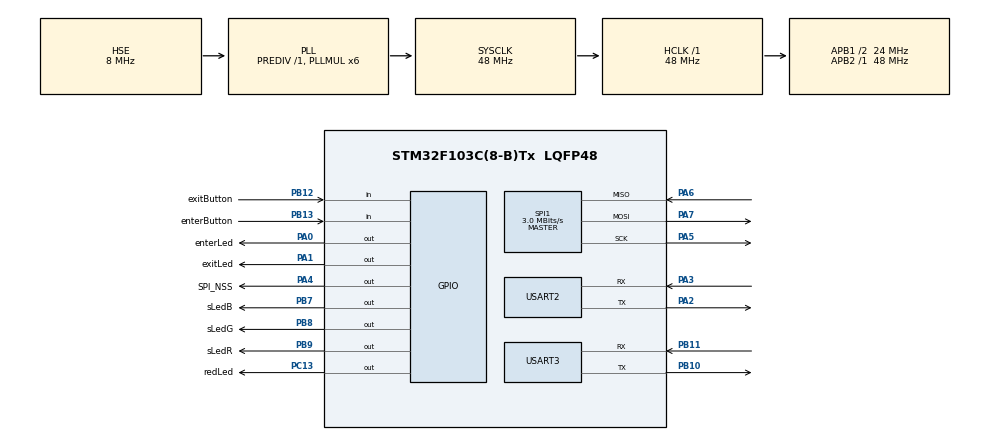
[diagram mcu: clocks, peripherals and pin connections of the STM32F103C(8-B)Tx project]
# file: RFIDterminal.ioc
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Mcu.Family=STM32F1
Mcu.Name=STM32F103C(8-B)Tx
Mcu.Package=LQFP48
NVIC.PriorityGroup=NVIC_PRIORITYGROUP_4
PA0-WKUP.GPIO_Label=enterLed
PA0-WKUP.Signal=GPIO_Output
PA1.GPIO_Label=exitLed
PA1.PinState=GPIO_PIN_SET
PA1.Signal=GPIO_Output
PA13.Mode=Serial_Wire
PA13.Signal=SYS_JTMS-SWDIO
PA14.Mode=Serial_Wire
PA14.Signal=SYS_JTCK-SWCLK
PA2.Mode=Asynchronous
PA2.Signal=USART2_TX
PA3.Mode=Asynchronous
PA3.Signal=USART2_RX
PA4.GPIO_Label=SPI_NSS
PA4.GPIO_Speed=GPIO_SPEED_FREQ_HIGH
PA4.PinState=GPIO_PIN_SET
PA4.Signal=GPIO_Output
PA5.Mode=Full_Duplex_Master
PA5.Signal=SPI1_SCK
PA6.Mode=Full_Duplex_Master
PA6.Signal=SPI1_MISO
PA7.Mode=Full_Duplex_Master
PA7.Signal=SPI1_MOSI
PB10.Mode=Asynchronous
PB10.Signal=USART3_TX
PB11.Mode=Asynchronous
PB11.Signal=USART3_RX
PB12.GPIO_Label=exitButton
PB12.GPIO_PuPd=GPIO_PULLUP
PB12.Signal=GPIO_Input
PB13.GPIO_Label=enterButton
PB13.GPIO_PuPd=GPIO_PULLUP
PB13.Signal=GPIO_Input
PB7.GPIO_Label=sLedB
PB7.PinState=GPIO_PIN_SET
PB7.Signal=GPIO_Output
PB8.GPIO_Label=sLedG
PB8.PinState=GPIO_PIN_SET
PB8.Signal=GPIO_Output
PB9.GPIO_Label=sLedR
PB9.PinState=GPIO_PIN_SET
PB9.Signal=GPIO_Output
PC13-TAMPER-RTC.GPIO_Label=redLed
PC13-TAMPER-RTC.PinState=GPIO_PIN_SET
PC13-TAMPER-RTC.Signal=GPIO_Output
PD0-OSC_IN.Mode=HSE-External-Oscillator
PD0-OSC_IN.Signal=RCC_OSC_IN
PD1-OSC_OUT.Mode=HSE-External-Oscillator
PD1-OSC_OUT.Signal=RCC_OSC_OUT
ProjectManager.HeapSize=0x200
ProjectManager.StackSize=0x400
ProjectManager.TargetToolchain=SW4STM32
RCC.AHBCLKDivider=RCC_SYSCLK_DIV1
RCC.AHBFreq_Value=48000000
RCC.APB1CLKDivider=RCC_HCLK_DIV2
RCC.APB1Freq_Value=24000000
RCC.APB1TimFreq_Value=48000000
RCC.APB2Freq_Value=48000000
RCC.APB2TimFreq_Value=48000000
RCC.ClockTypeHCLK=RCC_CLOCKTYPE_HCLK
RCC.ClockTypePCLK1=RCC_CLOCKTYPE_PCLK1
RCC.ClockTypePCLK2=RCC_CLOCKTYPE_PCLK2
RCC.EnableHSE=true
RCC.EnableHSERTCDevisor=false
RCC.EnableLSE=false
RCC.EnableLSERTC=false
RCC.EnableMCOMultDivisor=false
RCC.HCLKFreq_Value=48000000
RCC.HSEState=RCC_HSE_ON
RCC.HSIState=RCC_HSI_ON
RCC.IWDGEnable=false
RCC.LSIState=RCC_LSI_OFF
RCC.MCOEnable=false
RCC.OscillatorTypeHSE=RCC_OSCILLATORTYPE_HSE
RCC.PLLMUL=RCC_PLL_MUL6
RCC.PLLSource=RCC_PLLSOURCE_HSE
RCC.PLLSourceVirtual=RCC_PLLSOURCE_HSE
RCC.PLLState=RCC_PLL_ON
RCC.RTCEnable=false
RCC.SYSCLKFreq_VALUE=48000000
RCC.SYSCLKSource=RCC_SYSCLKSOURCE_PLLCLK
RCC.USBFreq_Value=48000000
SPI1.BaudRatePrescaler=SPI_BAUDRATEPRESCALER_16
SPI1.CLKPhase=SPI_PHASE_2EDGE
SPI1.CLKPolarity=SPI_POLARITY_HIGH
SPI1.CRCPolynomial=10
SPI1.CalculateBaudRate=3.0 MBits/s
SPI1.Direction=SPI_DIRECTION_2LINES
SPI1.Mode=SPI_MODE_MASTER
SPI1.VirtualType=VM_MASTER
USART2.HwFlowCtl-Asynchronous=UART_HWCONTROL_NONE
USART2.VirtualMode=VM_ASYNC
USART3.HwFlowCtl-Asynchronous=UART_HWCONTROL_NONE
USART3.VirtualMode=VM_ASYNC
board=RFIDterminal

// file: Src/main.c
/**
 ******************************************************************************
 * File Name          : main.c
 * Description        : Main program body
 ******************************************************************************
 *
 * COPYRIGHT(c) 2017 STMicroelectronics
 *
 * Redistribution and use in source and binary forms, with or without modification,
 * are permitted provided that the following conditions are met:
 *   1. Redistributions of source code must retain the above copyright notice,
 *      this list of conditions and the following disclaimer.
 *   2. Redistributions in binary form must reproduce the above copyright notice,
 *      this list of conditions and the following disclaimer in the documentation
 *      and/or other materials provided with the distribution.
 *   3. Neither the name of STMicroelectronics nor the names of its contributors
 *      may be used to endorse or promote products derived from this software
 *      without specific prior written permission.
 *
 * THIS SOFTWARE IS PROVIDED BY THE COPYRIGHT HOLDERS AND CONTRIBUTORS "AS IS"
 * AND ANY EXPRESS OR IMPLIED WARRANTIES, INCLUDING, BUT NOT LIMITED TO, THE
 * IMPLIED WARRANTIES OF MERCHANTABILITY AND FITNESS FOR A PARTICULAR PURPOSE ARE
 * DISCLAIMED. IN NO EVENT SHALL THE COPYRIGHT HOLDER OR CONTRIBUTORS BE LIABLE
 * FOR ANY DIRECT, INDIRECT, INCIDENTAL, SPECIAL, EXEMPLARY, OR CONSEQUENTIAL
 * DAMAGES (INCLUDING, BUT NOT LIMITED TO, PROCUREMENT OF SUBSTITUTE GOODS OR
 * SERVICES; LOSS OF USE, DATA, OR PROFITS; OR BUSINESS INTERRUPTION) HOWEVER
 * CAUSED AND ON ANY THEORY OF LIABILITY, WHETHER IN CONTRACT, STRICT LIABILITY,
 * OR TORT (INCLUDING NEGLIGENCE OR OTHERWISE) ARISING IN ANY WAY OUT OF THE USE
 * OF THIS SOFTWARE, EVEN IF ADVISED OF THE POSSIBILITY OF SUCH DAMAGE.
 *
 ******************************************************************************
 */
#include "main.h"
#include "stm32f1xx_hal.h"

/* USER CODE BEGIN Includes */
#include "stdbool.h"
#include "mfrc522.h"
#include "mfrc522_SPI.h"
#include "configMode.h"
#include "uart.h"
#include "wifiModule.h"
#include "string.h"
#include "defines.h"
#include "HTTPrequest.h"
/* USER CODE END Includes */

SPI_HandleTypeDef hspi1;

UART_HandleTypeDef huart2;
UART_HandleTypeDef huart3;

/* USER CODE BEGIN PV */
/* Private variables ---------------------------------------------------------*/

#define uartPC huart3
#define uartWiFi huart2

typedef enum {
	LED_BLACK,
	LED_RED,
	LED_GREEN,
	LED_BLUE,
	LED_YELLOW,
	LED_MAGENTA,
	LED_CYAN,
	LED_WHITE
} LedColor;

Terminal_mode terminalMode = enterMode;
uint8_t cardID[5];
uint16_t size = 0;
char uartTextBuff[64];

/* USER CODE END PV */

void SystemClock_Config(void);
void Error_Handler(void);
static void MX_GPIO_Init(void);
static void MX_SPI1_Init(void);
static void MX_USART3_UART_Init(void);
static void MX_USART2_UART_Init(void);

/* USER CODE BEGIN PFP */
/* Private function prototypes -----------------------------------------------*/

void initTerminal(void);
void checkModeChange(void);
bool newCardDetected(uint8_t* id);
void setLedColor(LedColor color);
void blinkWiFiError(void);

/* USER CODE END PFP */

/* USER CODE BEGIN 0 */

void checkModeChange(void){
	if(HAL_GPIO_ReadPin(enterButton_GPIO_Port, enterButton_Pin) == GPIO_PIN_RESET){
		HAL_GPIO_WritePin(enterLed_GPIO_Port, enterLed_Pin, RESET);
		HAL_GPIO_WritePin(exitLed_GPIO_Port, exitLed_Pin, SET);
		terminalMode = enterMode;
	}

	if(HAL_GPIO_ReadPin(exitButton_GPIO_Port, exitButton_Pin) == GPIO_PIN_RESET){
		HAL_GPIO_WritePin(enterLed_GPIO_Port, enterLed_Pin, SET);
		HAL_GPIO_WritePin(exitLed_GPIO_Port, exitLed_Pin, RESET);
		terminalMode = exitMode;
	}
}

void initTerminal(void){

}

bool newCardDetected(uint8_t* id){
	static uint8_t lastCardStatus = 0;
	if(MFRC522_Check(id) == MI_OK){
		if(lastCardStatus != MI_OK){
			lastCardStatus = MI_OK;
			return true;
		}
	}else{
		lastCardStatus = MI_NOTAGERR;
	}
	return false;
}

void setLedColor(LedColor color){
	HAL_GPIO_WritePin(sLedR_GPIO_Port, sLedR_Pin, GPIO_PIN_SET);
	HAL_GPIO_WritePin(sLedG_GPIO_Port, sLedG_Pin, GPIO_PIN_SET);
	HAL_GPIO_WritePin(sLedB_GPIO_Port, sLedB_Pin, GPIO_PIN_SET);

	switch (color) {
	case LED_RED:
		HAL_GPIO_WritePin(sLedR_GPIO_Port, sLedR_Pin, GPIO_PIN_RESET);
		break;
	case LED_GREEN:
		HAL_GPIO_WritePin(sLedG_GPIO_Port, sLedG_Pin, GPIO_PIN_RESET);
		break;
	case LED_BLUE:
		HAL_GPIO_WritePin(sLedB_GPIO_Port, sLedB_Pin, GPIO_PIN_RESET);
		break;
	case LED_YELLOW:
		HAL_GPIO_WritePin(sLedR_GPIO_Port, sLedR_Pin, GPIO_PIN_RESET);
		HAL_GPIO_WritePin(sLedG_GPIO_Port, sLedG_Pin, GPIO_PIN_RESET);
		break;
	case LED_MAGENTA:
		HAL_GPIO_WritePin(sLedR_GPIO_Port, sLedR_Pin, GPIO_PIN_RESET);
		HAL_GPIO_WritePin(sLedB_GPIO_Port, sLedB_Pin, GPIO_PIN_RESET);
		break;
	case LED_CYAN:
		HAL_GPIO_WritePin(sLedB_GPIO_Port, sLedB_Pin, GPIO_PIN_RESET);
		HAL_GPIO_WritePin(sLedG_GPIO_Port, sLedG_Pin, GPIO_PIN_RESET);
		break;
	case LED_WHITE:
		HAL_GPIO_WritePin(sLedR_GPIO_Port, sLedR_Pin, GPIO_PIN_RESET);
		HAL_GPIO_WritePin(sLedG_GPIO_Port, sLedG_Pin, GPIO_PIN_RESET);
		HAL_GPIO_WritePin(sLedB_GPIO_Port, sLedB_Pin, GPIO_PIN_RESET);
		break;
	default:
		break;
	}

}

void blinkWiFiError(void){
	for(uint8_t i = 0; i < 2; i++){
		setLedColor(LED_BLUE);
		HAL_Delay(500);
		setLedColor(LED_RED);
		HAL_Delay(500);
	}
}

/* USER CODE END 0 */

int main(void)
{

	/* MCU Configuration----------------------------------------------------------*/

	/* Reset of all peripherals, Initializes the Flash interface and the Systick. */
	HAL_Init();

	/* Configure the system clock */
	SystemClock_Config();

	/* Initialize all configured peripherals */
	MX_GPIO_Init();
	MX_SPI1_Init();
	MX_USART3_UART_Init();
	MX_USART2_UART_Init();

	/* USER CODE BEGIN 2 */

	//próba wejœcia w tryb konfiguracji
	enterConfigMode(&uartPC, &uartWiFi);

	uartWriteLine(&uartPC, "Starting!");

	mfrc522_SPI_setHandler(&hspi1, SPI_NSS_GPIO_Port, SPI_NSS_Pin);
	MFRC522_Init();

	if(WiFi_restart(&uartWiFi, 10000) != WiFi_OK)
		Error_Handler();
	uartWriteLine(&uartPC, "WiFi OK!");

	/* USER CODE END 2 */

	/* Infinite loop */
	while (1)
	{

		/* USER CODE BEGIN 3 */
		HAL_Delay(250);

		checkModeChange();

		if(newCardDetected(cardID)){
			HAL_GPIO_WritePin(redLed_GPIO_Port, redLed_Pin, RESET);	//Zapalenie czerwonej diody

			//testowe -> otwiera po³¹czenie, ale go nie zamyka
			if(WiFi_checkAPconnection(&uartWiFi) == WiFi_OK){
				sprintf(uartTextBuff, "CardID: %02X%02X%02X%02X%02X %s",
						cardID[0],
						cardID[1],
						cardID[2],
						cardID[3],
						cardID[4],
						terminalMode == enterMode ? "enter" : "exit");
				uartWriteLine(&uartPC, uartTextBuff);
				RequestResult status = cardRequest(&uartWiFi, cardID, terminalMode, HOST_NAME, HOST_PORT);

				//WiFI_Status status = WiFi_openConnection(&uartWiFi, "Karol-Lenovo", "8189");	//Nawi¹zanie ³¹cznoœci z serwerem

				switch (status.wifiStatus) {
				case WiFi_OK:
					uartWriteLine(&uartPC, "WIFI OK");

					if(status.result == ACCESS_GRANTED){
						setLedColor(LED_GREEN);
						uartWriteLine(&uartPC, "ACCESS_GRANTED");
						HAL_Delay(1000);
					}else if(status.result == ACCESS_DENIED){
						setLedColor(LED_RED);
						uartWriteLine(&uartPC, "ACCESS_DENIED");
						HAL_Delay(1000);
					}else{
						sprintf(uartTextBuff, "Server Error: %d", status.HTTP_status);
						uartWriteLine(&uartPC, uartTextBuff);
						for(uint8_t i = 0; i < 2; i++){
							setLedColor(LED_YELLOW);
							HAL_Delay(500);
							setLedColor(LED_BLACK);
							HAL_Delay(500);
						}
					}

					break;
				case WiFi_NO_IP:
					uartWriteLine(&uartPC, "no ip");
					blinkWiFiError();
					break;
				case WiFi_ERROR:
					uartWriteLine(&uartPC, "WIFI ERROR");
					blinkWiFiError();
					break;
				case WiFi_DNS_FAIL:
					uartWriteLine(&uartPC, "DNS Fail");
					blinkWiFiError();
					break;
				case WiFi_ALREADY_CONNECT:
					uartWriteLine(&uartPC, "ALREAY CONNECT");
					blinkWiFiError();
					break;
				default:
					break;
				}
			}else{
				uartWriteLine(&uartPC, "no AP");
				for(uint8_t i = 0; i < 2; i++){
					setLedColor(LED_BLUE);
					HAL_Delay(500);
					setLedColor(LED_BLACK);
					HAL_Delay(500);
				}
			}

			setLedColor(LED_BLACK);
		}else{
			HAL_GPIO_WritePin(redLed_GPIO_Port, redLed_Pin, SET);	//zgaszenie diody
		}

	}
	/* USER CODE END 3 */

}

/** System Clock Configuration
 */
void SystemClock_Config(void)
{

	RCC_OscInitTypeDef RCC_OscInitStruct;
	RCC_ClkInitTypeDef RCC_ClkInitStruct;

	/**Initializes the CPU, AHB and APB busses clocks
	 */
	RCC_OscInitStruct.OscillatorType = RCC_OSCILLATORTYPE_HSE;
	RCC_OscInitStruct.HSEState = RCC_HSE_ON;
	RCC_OscInitStruct.HSEPredivValue = RCC_HSE_PREDIV_DIV1;
	RCC_OscInitStruct.PLL.PLLState = RCC_PLL_ON;
	RCC_OscInitStruct.PLL.PLLSource = RCC_PLLSOURCE_HSE;
	RCC_OscInitStruct.PLL.PLLMUL = RCC_PLL_MUL6;
	if (HAL_RCC_OscConfig(&RCC_OscInitStruct) != HAL_OK)
	{
		Error_Handler();
	}

	/**Initializes the CPU, AHB and APB busses clocks
	 */
	RCC_ClkInitStruct.ClockType = RCC_CLOCKTYPE_HCLK|RCC_CLOCKTYPE_SYSCLK
			|RCC_CLOCKTYPE_PCLK1|RCC_CLOCKTYPE_PCLK2;
	RCC_ClkInitStruct.SYSCLKSource = RCC_SYSCLKSOURCE_PLLCLK;
	RCC_ClkInitStruct.AHBCLKDivider = RCC_SYSCLK_DIV1;
	RCC_ClkInitStruct.APB1CLKDivider = RCC_HCLK_DIV2;
	RCC_ClkInitStruct.APB2CLKDivider = RCC_HCLK_DIV1;

	if (HAL_RCC_ClockConfig(&RCC_ClkInitStruct, FLASH_LATENCY_1) != HAL_OK)
	{
		Error_Handler();
	}

	/**Configure the Systick interrupt time
	 */
	HAL_SYSTICK_Config(HAL_RCC_GetHCLKFreq()/1000);

	/**Configure the Systick
	 */
	HAL_SYSTICK_CLKSourceConfig(SYSTICK_CLKSOURCE_HCLK);

	/* SysTick_IRQn interrupt configuration */
	HAL_NVIC_SetPriority(SysTick_IRQn, 0, 0);
}

/* SPI1 init function */
static void MX_SPI1_Init(void)
{

	hspi1.Instance = SPI1;
	hspi1.Init.Mode = SPI_MODE_MASTER;
	hspi1.Init.Direction = SPI_DIRECTION_2LINES;
	hspi1.Init.DataSize = SPI_DATASIZE_8BIT;
	hspi1.Init.CLKPolarity = SPI_POLARITY_HIGH;
	hspi1.Init.CLKPhase = SPI_PHASE_2EDGE;
	hspi1.Init.NSS = SPI_NSS_SOFT;
	hspi1.Init.BaudRatePrescaler = SPI_BAUDRATEPRESCALER_16;
	hspi1.Init.FirstBit = SPI_FIRSTBIT_MSB;
	hspi1.Init.TIMode = SPI_TIMODE_DISABLE;
	hspi1.Init.CRCCalculation = SPI_CRCCALCULATION_DISABLE;
	hspi1.Init.CRCPolynomial = 10;
	if (HAL_SPI_Init(&hspi1) != HAL_OK)
	{
		Error_Handler();
	}

}

/* USART2 init function */
static void MX_USART2_UART_Init(void)
{

	huart2.Instance = USART2;
	huart2.Init.BaudRate = 115200;
	huart2.Init.WordLength = UART_WORDLENGTH_8B;
	huart2.Init.StopBits = UART_STOPBITS_1;
	huart2.Init.Parity = UART_PARITY_NONE;
	huart2.Init.Mode = UART_MODE_TX_RX;
	huart2.Init.HwFlowCtl = UART_HWCONTROL_NONE;
	huart2.Init.OverSampling = UART_OVERSAMPLING_16;
	if (HAL_UART_Init(&huart2) != HAL_OK)
	{
		Error_Handler();
	}

}

/* USART3 init function */
static void MX_USART3_UART_Init(void)
{

	huart3.Instance = USART3;
	huart3.Init.BaudRate = 115200;
	huart3.Init.WordLength = UART_WORDLENGTH_8B;
	huart3.Init.StopBits = UART_STOPBITS_1;
	huart3.Init.Parity = UART_PARITY_NONE;
	huart3.Init.Mode = UART_MODE_TX_RX;
	huart3.Init.HwFlowCtl = UART_HWCONTROL_NONE;
	huart3.Init.OverSampling = UART_OVERSAMPLING_16;
	if (HAL_UART_Init(&huart3) != HAL_OK)
	{
		Error_Handler();
	}

}

/** Configure pins as
 * Analog
 * Input
 * Output
 * EVENT_OUT
 * EXTI
 */
static void MX_GPIO_Init(void)
{

	GPIO_InitTypeDef GPIO_InitStruct;

	/* GPIO Ports Clock Enable */
	__HAL_RCC_GPIOC_CLK_ENABLE();
	__HAL_RCC_GPIOD_CLK_ENABLE();
	__HAL_RCC_GPIOA_CLK_ENABLE();
	__HAL_RCC_GPIOB_CLK_ENABLE();

	/*Configure GPIO pin Output Level */
	HAL_GPIO_WritePin(redLed_GPIO_Port, redLed_Pin, GPIO_PIN_SET);

	/*Configure GPIO pin Output Level */
	HAL_GPIO_WritePin(enterLed_GPIO_Port, enterLed_Pin, GPIO_PIN_RESET);

	/*Configure GPIO pin Output Level */
	HAL_GPIO_WritePin(GPIOA, exitLed_Pin|SPI_NSS_Pin, GPIO_PIN_SET);

	/*Configure GPIO pin Output Level */
	HAL_GPIO_WritePin(GPIOB, sLedB_Pin|sLedG_Pin|sLedR_Pin, GPIO_PIN_SET);

	/*Configure GPIO pin : redLed_Pin */
	GPIO_InitStruct.Pin = redLed_Pin;
	GPIO_InitStruct.Mode = GPIO_MODE_OUTPUT_PP;
	GPIO_InitStruct.Speed = GPIO_SPEED_FREQ_LOW;
	HAL_GPIO_Init(redLed_GPIO_Port, &GPIO_InitStruct);

	/*Configure GPIO pins : enterLed_Pin exitLed_Pin */
	GPIO_InitStruct.Pin = enterLed_Pin|exitLed_Pin;
	GPIO_InitStruct.Mode = GPIO_MODE_OUTPUT_PP;
	GPIO_InitStruct.Speed = GPIO_SPEED_FREQ_LOW;
	HAL_GPIO_Init(GPIOA, &GPIO_InitStruct);

	/*Configure GPIO pin : SPI_NSS_Pin */
	GPIO_InitStruct.Pin = SPI_NSS_Pin;
	GPIO_InitStruct.Mode = GPIO_MODE_OUTPUT_PP;
	GPIO_InitStruct.Speed = GPIO_SPEED_FREQ_HIGH;
	HAL_GPIO_Init(SPI_NSS_GPIO_Port, &GPIO_InitStruct);

	/*Configure GPIO pins : exitButton_Pin enterButton_Pin */
	GPIO_InitStruct.Pin = exitButton_Pin|enterButton_Pin;
	GPIO_InitStruct.Mode = GPIO_MODE_INPUT;
	GPIO_InitStruct.Pull = GPIO_PULLUP;
	HAL_GPIO_Init(GPIOB, &GPIO_InitStruct);

	/*Configure GPIO pins : sLedB_Pin sLedG_Pin sLedR_Pin */
	GPIO_InitStruct.Pin = sLedB_Pin|sLedG_Pin|sLedR_Pin;
	GPIO_InitStruct.Mode = GPIO_MODE_OUTPUT_PP;
	GPIO_InitStruct.Speed = GPIO_SPEED_FREQ_LOW;
	HAL_GPIO_Init(GPIOB, &GPIO_InitStruct);

}

void Error_Handler(void)
{
	while(1)
	{
	}
}

/************************ (C) COPYRIGHT STMicroelectronics *****END OF FILE****/
